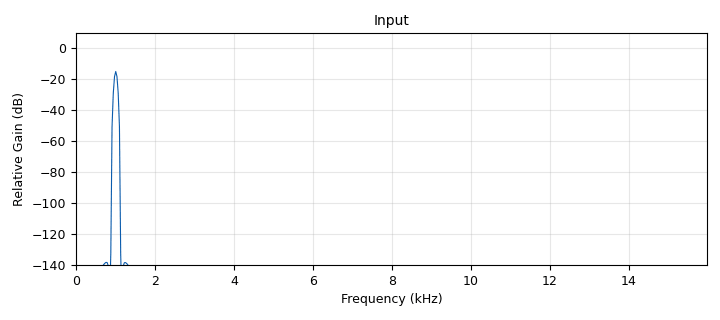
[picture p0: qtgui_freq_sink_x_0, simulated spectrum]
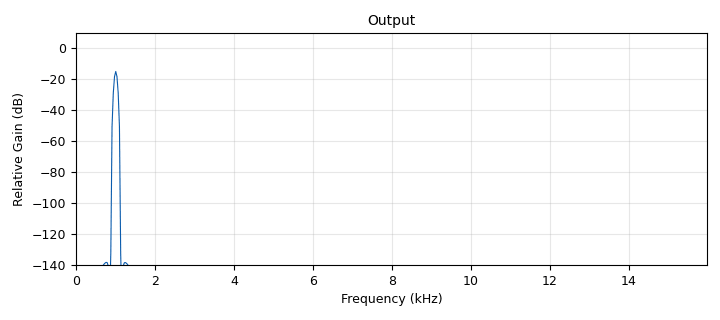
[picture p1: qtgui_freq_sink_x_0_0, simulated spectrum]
<?xml version='1.0' encoding='utf-8'?>
<?grc format='1' created='3.7.13'?>
<flow_graph>
<block>
<key>options</key>
<param><key>id</key><value>top_block</value></param>
<param><key>generate_options</key><value>qt_gui</value></param>
</block>
<block>
<key>variable_qtgui_range</key>
<param><key>id</key><value>gain</value></param>
<param><key>value</key><value>1</value></param>
<param><key>orient</key><value>Qt.Horizontal</value></param>
<param><key>start</key><value>0</value></param>
<param><key>step</key><value>0.25</value></param>
<param><key>stop</key><value>100</value></param>
</block>
<block>
<key>variable</key>
<param><key>id</key><value>samp_rate</value></param>
<param><key>value</key><value>32000</value></param>
</block>
<block>
<key>analog_sig_source_x</key>
<param><key>id</key><value>analog_sig_source_x_0</value></param>
<param><key>amp</key><value>1</value></param>
<param><key>freq</key><value>1000</value></param>
<param><key>offset</key><value>0</value></param>
<param><key>type</key><value>float</value></param>
<param><key>samp_rate</key><value>samp_rate</value></param>
<param><key>waveform</key><value>analog.GR_COS_WAVE</value></param>
</block>
<block>
<key>blocks_multiply_const_vxx</key>
<param><key>id</key><value>blocks_multiply_const_vxx_0</value></param>
<param><key>const</key><value>gain</value></param>
<param><key>type</key><value>float</value></param>
</block>
<block>
<key>blocks_throttle</key>
<param><key>id</key><value>blocks_throttle_0</value></param>
<param><key>samples_per_second</key><value>samp_rate</value></param>
<param><key>type</key><value>float</value></param>
</block>
<block>
<key>blocks_wavfile_source</key>
<param><key>id</key><value>blocks_wavfile_source_0</value></param>
<param><key>_enabled</key><value>0</value></param>
<param><key>file</key><value>/home/ryan/dev/fex1/fesdr-examples-vol1/ch7/HumanEvents_s32k.wav</value></param>
<param><key>repeat</key><value>True</value></param>
</block>
<block>
<key>qtgui_freq_sink_x</key>
<param><key>id</key><value>qtgui_freq_sink_x_0</value></param>
<param><key>bw</key><value>samp_rate</value></param>
<param><key>fc</key><value>0</value></param>
<param><key>ctrlpanel</key><value>True</value></param>
<param><key>fftsize</key><value>1024</value></param>
<param><key>gui_hint</key><value>2,0</value></param>
<param><key>name</key><value>"Input"</value></param>
<param><key>showports</key><value>True</value></param>
<param><key>freqhalf</key><value>False</value></param>
<param><key>type</key><value>float</value></param>
<param><key>wintype</key><value>firdes.WIN_BLACKMAN_hARRIS</value></param>
</block>
<block>
<key>qtgui_freq_sink_x</key>
<param><key>id</key><value>qtgui_freq_sink_x_0_0</value></param>
<param><key>bw</key><value>samp_rate</value></param>
<param><key>fc</key><value>0</value></param>
<param><key>ctrlpanel</key><value>True</value></param>
<param><key>fftsize</key><value>1024</value></param>
<param><key>gui_hint</key><value>2,1</value></param>
<param><key>name</key><value>"Output"</value></param>
<param><key>showports</key><value>True</value></param>
<param><key>freqhalf</key><value>False</value></param>
<param><key>type</key><value>float</value></param>
<param><key>wintype</key><value>firdes.WIN_BLACKMAN_hARRIS</value></param>
</block>
<block>
<key>qtgui_time_sink_x</key>
<param><key>id</key><value>qtgui_time_sink_x_0</value></param>
<param><key>ctrlpanel</key><value>True</value></param>
<param><key>_enabled</key><value>0</value></param>
<param><key>gui_hint</key><value>1,1</value></param>
<param><key>color1</key><value>"blue"</value></param>
<param><key>label1</key><value></value></param>
<param><key>name</key><value>"Output"</value></param>
<param><key>size</key><value>1024</value></param>
<param><key>srate</key><value>samp_rate</value></param>
<param><key>type</key><value>float</value></param>
</block>
<block>
<key>qtgui_time_sink_x</key>
<param><key>id</key><value>qtgui_time_sink_x_0_0</value></param>
<param><key>ctrlpanel</key><value>True</value></param>
<param><key>_enabled</key><value>0</value></param>
<param><key>gui_hint</key><value>1,0</value></param>
<param><key>color1</key><value>"blue"</value></param>
<param><key>label1</key><value></value></param>
<param><key>name</key><value>"Input"</value></param>
<param><key>size</key><value>1024</value></param>
<param><key>srate</key><value>samp_rate</value></param>
<param><key>type</key><value>float</value></param>
</block>
<connection><source_block_id>analog_sig_source_x_0</source_block_id><sink_block_id>blocks_throttle_0</sink_block_id><source_key>0</source_key><sink_key>0</sink_key></connection>
<connection><source_block_id>blocks_multiply_const_vxx_0</source_block_id><sink_block_id>qtgui_freq_sink_x_0_0</sink_block_id><source_key>0</source_key><sink_key>0</sink_key></connection>
<connection><source_block_id>blocks_multiply_const_vxx_0</source_block_id><sink_block_id>qtgui_time_sink_x_0</sink_block_id><source_key>0</source_key><sink_key>0</sink_key></connection>
<connection><source_block_id>blocks_throttle_0</source_block_id><sink_block_id>blocks_multiply_const_vxx_0</sink_block_id><source_key>0</source_key><sink_key>0</sink_key></connection>
<connection><source_block_id>blocks_throttle_0</source_block_id><sink_block_id>qtgui_freq_sink_x_0</sink_block_id><source_key>0</source_key><sink_key>0</sink_key></connection>
<connection><source_block_id>blocks_throttle_0</source_block_id><sink_block_id>qtgui_time_sink_x_0_0</sink_block_id><source_key>0</source_key><sink_key>0</sink_key></connection>
</flow_graph>
